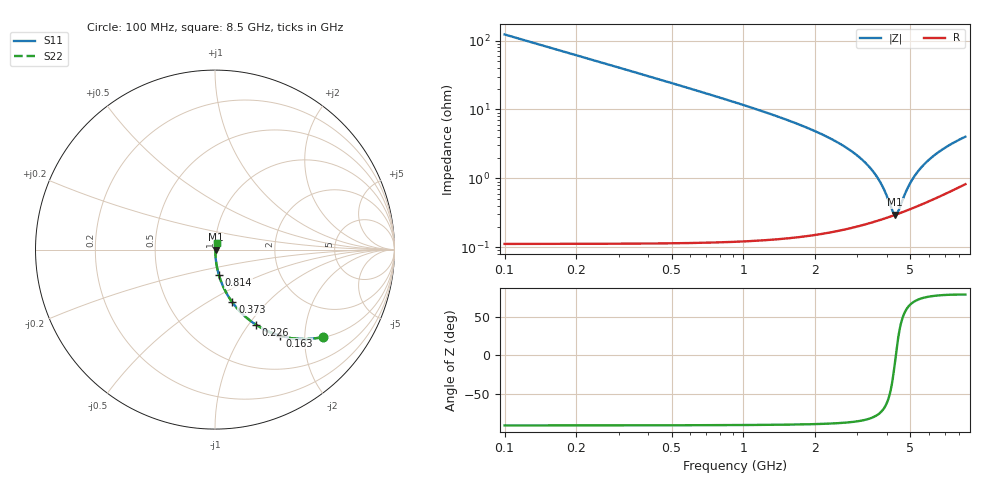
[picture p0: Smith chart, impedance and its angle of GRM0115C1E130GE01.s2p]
!Murata Part Number: GRM0115C1E130GE01
!These Parameters are Measured in Series Mode Connection
!Data Generated on Mar 30, 2021
!  o--ll--o
!Port1  Port2
!  o------o
!Operation Temp=25[degC], DC Bias Voltage=0[V]
!Freq. Start=100[MHz] Stop=9[GHz] 401[Steps]
# Hz S RI R 50
!Freq.(Hz) S11(Real) S11(Imag) S21(Real) S21(Imag) S12(Real) S12(Imag) S22(Real) S22(Imag)
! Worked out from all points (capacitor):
!   401 points, 100 MHz to 8.5 GHz, reference 50 ohm
!   read as one part in series: C = 13 pF near 142 MHz
!   lowest |Z| = 297 mohm at 4.321 GHz (marker M1)
!   series resonance near 4.346 GHz, so ESL is about 100 pH
!   S11 on the Smith chart (normalised r, x): 100 MHz: 1.00, -2.45; 163 MHz: 1.00, -1.50; 226 MHz: 1.00, -1.08; 373 MHz: 1.00, -0.65; 814 MHz: 1.00, -0.29; 8.5 GHz: 1.02, +0.08
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1e8  0.5995 -0.4895  0.4005 0.4895  0.4005 0.4895  0.5995 -0.4895
1.63e8  0.3602 -0.4793  0.6398 0.4793  0.6398 0.4793  0.3602 -0.4793
2.26e8  0.2264 -0.4175  0.7736 0.4175  0.7736 0.4175  0.2264 -0.4175
3.73e8  0.0968 -0.2939  0.9032 0.2939  0.9032 0.2939  0.0968 -0.2939
5.62e8  0.0449 -0.2043  0.9551 0.2043  0.9551 0.2043  0.0449 -0.2043
8.14e8  0.0217 -0.1418  0.9783 0.1418  0.9783 0.1418  0.0217 -0.1418
1.507e9  0.00639 -0.0709  0.9936 0.0709  0.9936 0.0709  0.00639 -0.0709
2.914e9  0.00248 -0.0229  0.9975 0.0229  0.9975 0.0229  0.00248 -0.0229
3.334e9  0.00243 -0.015  0.9976 0.015  0.9976 0.015  0.00243 -0.015
3.649e9  0.00252 -0.0098  0.9975 0.0098  0.9975 0.0098  0.00252 -0.0098
3.901e9  0.00264 -0.00603  0.9974 0.00603  0.9974 0.00603  0.00264 -0.00603
4.216e9  0.00286 -0.00169  0.9971 0.00169  0.9971 0.00169  0.00286 -0.00169
4.3e9  0.00293 -0.000592  0.9971 0.000592  0.9971 0.000592  0.00293 -0.000592
4.321e9  0.00295 -0.000321  0.9971 0.000321  0.9971 0.000321  0.00295 -0.000321
4.426e9  0.00304 0.00101  0.997 -0.00101  0.997 -0.00101  0.00304 0.00101
4.762e9  0.00336 0.00507  0.9966 -0.00507  0.9966 -0.00507  0.00336 0.00507
5.014e9  0.00364 0.00794  0.9964 -0.00794  0.9964 -0.00794  0.00364 0.00794
5.329e9  0.00403 0.0113  0.996 -0.0113  0.996 -0.0113  0.00403 0.0113
5.707e9  0.00454 0.0152  0.9955 -0.0152  0.9955 -0.0152  0.00454 0.0152
6.337e9  0.0055 0.0212  0.9945 -0.0212  0.9945 -0.0212  0.0055 0.0212
7.114e9  0.00685 0.0279  0.9931 -0.0279  0.9931 -0.0279  0.00685 0.0279
8.5e9  0.00967 0.0387  0.9903 -0.0387  0.9903 -0.0387  0.00967 0.0387
